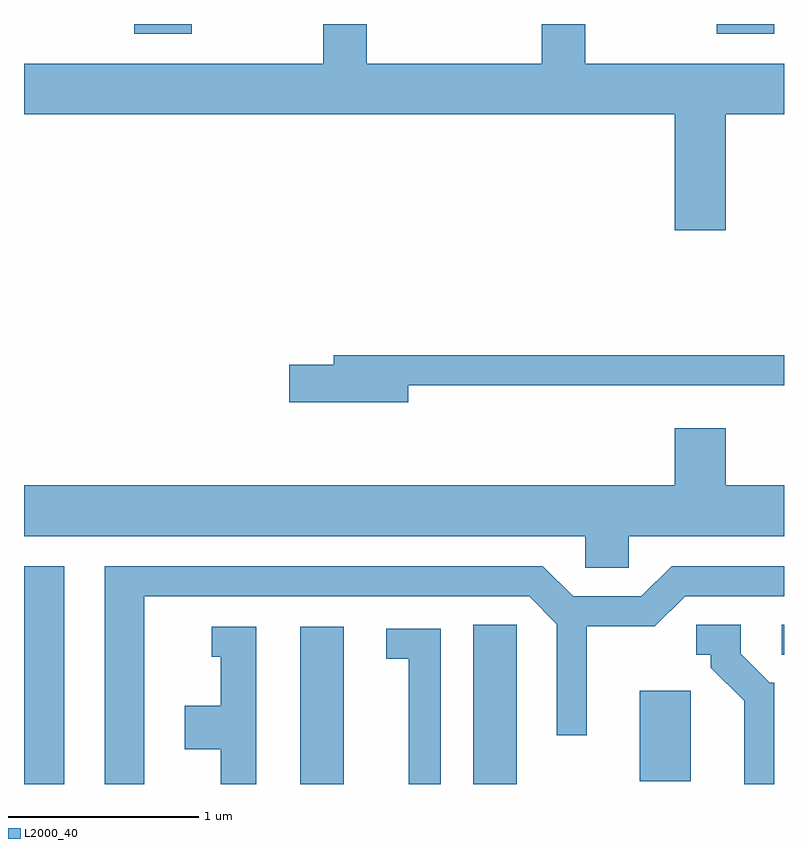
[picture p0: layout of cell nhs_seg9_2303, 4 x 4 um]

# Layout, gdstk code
import gdstk
lib = gdstk.Library(unit=1e-6, precision=1e-09)
def R(c, l, rs):  # rectangles x0, y0, x1, y1
    for r in rs: c.add(gdstk.rectangle(r[:2], r[2:], *l))
def P(c, l, *ps):  # polygons
    for p in ps: c.add(gdstk.Polygon(p, *l))
L2000_40 = (2000, 40)

nhs_seg9_2303 = lib.new_cell('nhs_seg9_2303')
R(nhs_seg9_2303, L2000_40, [(251.611,2070.432,251.824,2071.579), (253.066,2070.432,253.294,2071.259), (253.976,2070.432,254.204,2071.269), (254.851,2070.446,255.119,2070.924), (255.598,2071.111,255.611,2071.269), (252.191,2074.381,252.494,2074.432), (255.256,2074.381,255.559,2074.432)])
P(nhs_seg9_2303, L2000_40, [(255.304,2073.956),(255.611,2073.956),(255.611,2074.224),(254.564,2074.224),(254.564,2074.432),(254.336,2074.432),(254.336,2074.224),(253.414,2074.224),(253.414,2074.432),(253.186,2074.432),(253.186,2074.224),(251.611,2074.224),(251.611,2073.956),(255.036,2073.956),(255.036,2073.346),(255.304,2073.346)],
  [(253.634,2072.531),(255.611,2072.531),(255.611,2072.689),(253.241,2072.689),(253.241,2072.639),(253.006,2072.639),(253.006,2072.441),(253.634,2072.441)],
  [(254.794,2071.736),(255.611,2071.736),(255.611,2072.004),(255.304,2072.004),(255.304,2072.304),(255.036,2072.304),(255.036,2072.004),(251.611,2072.004),(251.611,2071.736),(254.566,2071.736),(254.566,2071.571),(254.794,2071.571)],
  [(252.244,2071.421),(254.269,2071.421),(254.416,2071.274),(254.416,2070.688),(254.574,2070.688),(254.574,2071.261),(254.932,2071.261),(255.092,2071.421),(255.611,2071.421),(255.611,2071.579),(255.019,2071.579),(254.859,2071.419),(254.502,2071.419),(254.342,2071.579),(252.036,2071.579),(252.036,2070.432),(252.244,2070.432)],
  [(255.559,2070.964),(255.537,2070.964),(255.384,2071.117),(255.384,2071.269),(255.148,2071.269),(255.148,2071.111),(255.226,2071.111),(255.226,2071.044),(255.401,2070.869),(255.401,2070.432),(255.559,2070.432)],
  [(252.834,2071.259),(252.598,2071.259),(252.598,2071.101),(252.646,2071.101),(252.646,2070.844),(252.456,2070.844),(252.456,2070.616),(252.646,2070.616),(252.646,2070.432),(252.834,2070.432)],
  [(253.804,2071.249),(253.518,2071.249),(253.518,2071.091),(253.636,2071.091),(253.636,2070.432),(253.804,2070.432)])

lib.write_gds('nhs_seg9_2303.gds')
